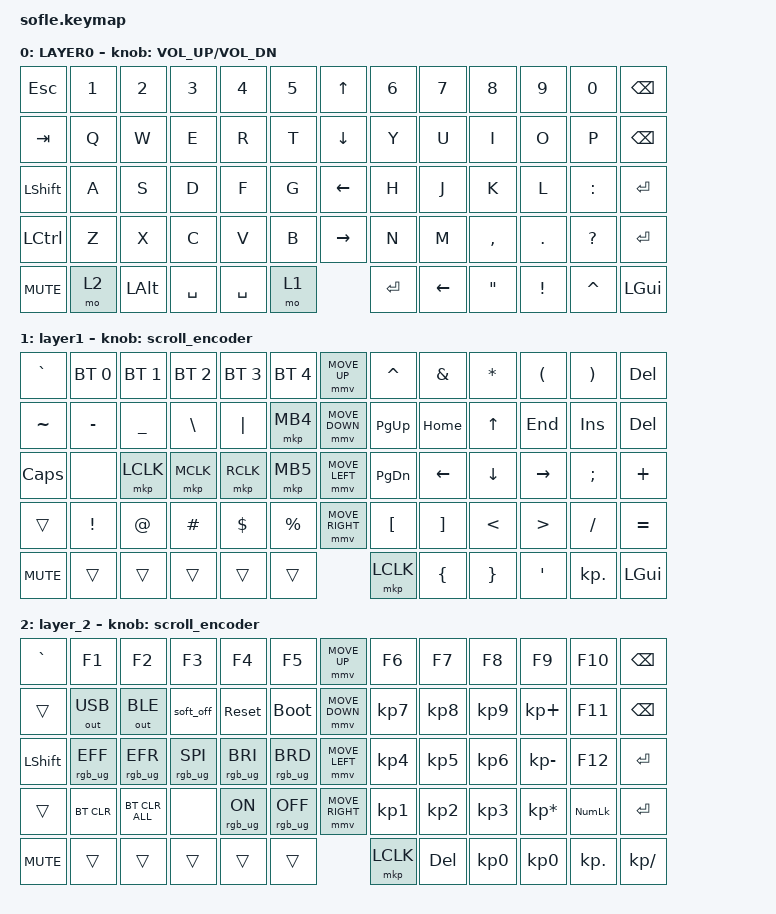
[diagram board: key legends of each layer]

#include <behaviors/mouse_keys.dtsi>
#include <behaviors.dtsi>
#include <dt-bindings/zmk/bt.h>
#include <dt-bindings/zmk/keys.h>
#include <dt-bindings/zmk/mouse.h>
#include <dt-bindings/zmk/outputs.h>
#include <dt-bindings/zmk/rgb.h>

#define ZMK_MOUSE_DEFAULT_MOVE_VAL 1200  // 600
#define ZMK_MOUSE_DEFAULT_SCRL_VAL 20    // 10
#define U_MS_U &mmv MOVE_UP
#define U_MS_D &mmv MOVE_DOWN
#define U_MS_L &mmv MOVE_LEFT
#define U_MS_R &mmv MOVE_RIGHT
#define ZMK_MOUSE_DEFAULT_MOVE_VAL 1200  //  600
#define ZMK_MOUSE_DEFAULT_SCRL_VAL 20    // 10

/ {
    behaviors {
        mmv {
            acceleration-exponent = <1>;      // 1
            time-to-max-speed-ms = <900>;    // 40
            delay-ms = <0>;                   // 0
        };

        msc {
            acceleration-exponent = <1>;      // 0
            time-to-max-speed-ms = <400>;      // 500
            delay-ms = <0>;                   //   10
        };
    };

    scroll_encoder: scroll_encoder {
        compatible = "zmk,behavior-sensor-rotate";
        #sensor-binding-cells = <0>;
        bindings = <&msc SCRL_DOWN>, <&msc SCRL_UP>;

        tap-ms = <30>;
    };

    keymap {
        compatible = "zmk,keymap";

        layer0 {
            bindings = <
&kp ESC     &kp N1          &kp N2            &kp N3          &kp N4           &kp N5             &kp UP_ARROW     &kp N6           &kp N7           &kp N8            &kp N9            &kp N0             &kp BACKSPACE
&kp TAB     &kp Q           &kp W             &kp E           &kp R            &kp T              &kp DOWN_ARROW   &kp Y            &kp U            &kp I             &kp O             &kp P              &kp BACKSPACE
&kp LSHFT   &kp A           &kp S             &kp D           &kp F            &kp G              &kp LEFT_ARROW   &kp H            &kp J            &kp K             &kp L             &kp COLON          &kp ENTER
&kp LCTRL   &kp Z           &kp X             &kp C           &kp V            &kp B              &kp RIGHT_ARROW  &kp N            &kp M            &kp COMMA         &kp DOT           &kp QUESTION       &kp ENTER 
&kp C_MUTE  &mo 2           &kp LEFT_ALT      &kp SPACE       &kp SPACE        &mo 1              &kp ENTER        &kp LEFT_ARROW   &kp DOUBLE_QUOTES         &kp EXCLAMATION      &kp CARET  &kp LEFT_GUI 
            >;

            sensor-bindings = <&inc_dec_kp C_VOLUME_UP C_VOL_DN>;
            display-name = "LAYER0";
        };

        layer_1 {
            bindings = <
&kp GRAVE    &bt BT_SEL 0      &bt BT_SEL 1     &bt BT_SEL 2      &bt BT_SEL 3     &bt BT_SEL 4       &mmv MOVE_UP     &kp CARET        &kp AMPERSAND      &kp ASTERISK      &kp LEFT_PARENTHESIS     &kp RIGHT_PARENTHESIS       &kp DELETE
&kp TILDE    &kp MINUS         &kp UNDERSCORE   &kp BACKSLASH     &kp PIPE         &mkp MB4           &mmv MOVE_DOWN   &kp PG_UP        &kp HOME           &kp UP_ARROW      &kp END                  &kp INSERT                  &kp DELETE
&kp CAPS     &none             &mkp LCLK        &mkp MCLK         &mkp RCLK        &mkp MB5           &mmv MOVE_LEFT   &kp PG_DN        &kp LEFT_ARROW     &kp DOWN_ARROW    &kp RIGHT_ARROW          &kp SEMICOLON               &kp PLUS
&trans       &kp EXCLAMATION   &kp  AT_SIGN     &kp  HASH         &kp  DOLLAR      &kp  PERCENT       &mmv MOVE_RIGHT  &kp LEFT_BRACKET &kp RIGHT_BRACKET  &kp LESS_THAN     &kp GREATER_THAN         &kp SLASH                   &kp EQUAL
&kp C_MUTE   &trans            &trans           &trans            &trans           &trans             &mkp LCLK        &kp LEFT_BRACE   &kp RIGHT_BRACE    &kp SINGLE_QUOTE  &kp KP_DOT               &kp LEFT_GUI 


            >;

            display-name = "layer1";
            sensor-bindings = <&scroll_encoder>;
        };

        layer_2 {
            bindings = <
&kp GRAVE   &kp F1            &kp F2            &kp F3            &kp F4           &kp F5             &mmv MOVE_UP     &kp F6              &kp F7              &kp F8               &kp F9            &kp F10         &kp BACKSPACE  
&trans      &out OUT_USB      &out OUT_BLE      &soft_off         &sys_reset       &bootloader        &mmv MOVE_DOWN   &kp KP_NUMBER_7     &kp KP_NUMBER_8     &kp KP_NUMBER_9      &kp KP_PLUS       &kp F11         &kp BACKSPACE  
&kp LSHFT   &rgb_ug RGB_EFF   &rgb_ug RGB_EFR   &rgb_ug RGB_SPI   &rgb_ug RGB_BRI  &rgb_ug RGB_BRD    &mmv MOVE_LEFT   &kp KP_NUMBER_4     &kp KP_NUMBER_5     &kp KP_NUMBER_6      &kp KP_MINUS      &kp F12         &kp ENTER
&trans      &bt BT_CLR        &bt BT_CLR_ALL    &none             &rgb_ug RGB_ON   &rgb_ug RGB_OFF    &mmv MOVE_RIGHT  &kp KP_NUMBER_1     &kp KP_NUMBER_2     &kp KP_NUMBER_3      &kp KP_MULTIPLY   &kp KP_NUMLOCK  &kp ENTER
&kp C_MUTE  &trans            &trans            &trans            &trans           &trans             &mkp LCLK        &kp DELETE          &kp KP_NUMBER_0     &kp KP_NUMBER_0   &kp KP_DOT        &kp KP_DIVIDE 
            >;  

            sensor-bindings = <&scroll_encoder>;
        };
    };
};
